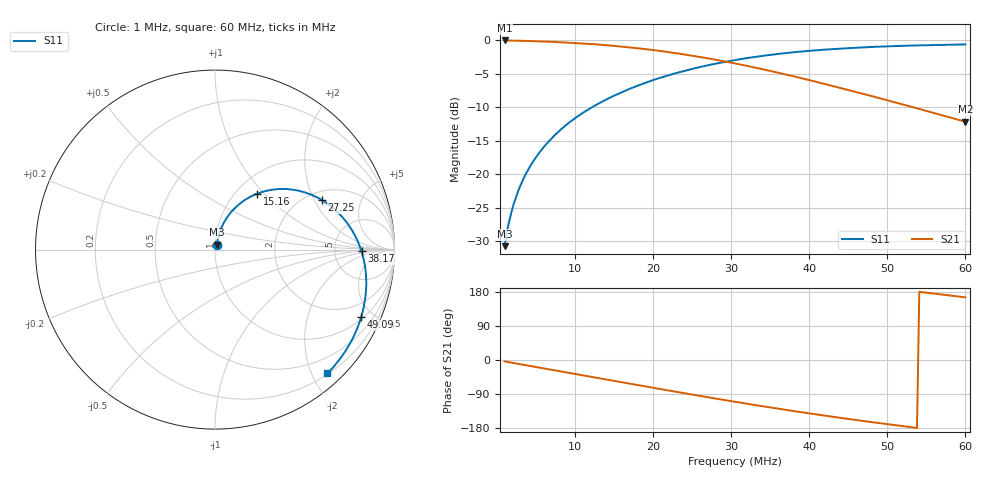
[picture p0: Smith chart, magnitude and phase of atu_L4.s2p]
! S11/S21 from S-A-A-2 VNA
! Written 2026-11-14 07:41:16 by the saav2 MCP server
! S12 and S22 were not measured (1.5-port VNA) and are written as 0
# HZ S RI R 50
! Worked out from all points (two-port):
!   201 points, 1 MHz to 60 MHz, reference 50 ohm
!   highest |S21| = -0.02 dB at 1 MHz (marker M1); lowest = -12.1 dB at 60 MHz (marker M2)
!   |S21| within 3 dB of the highest: start of sweep to 28.61 MHz
!   lowest |S11| = -30.7 dB at 1 MHz (marker M3), VSWR 1.06, Z = 51 + j2.77 ohm
!   |S11| at or under -10 dB: start of sweep to 12.17 MHz
!   S12 and S22 are empty: the file has one direction only
!   S11 on the Smith chart (normalised r, x): 1 MHz: 1.02, +0.06; 15.16 MHz: 1.24, +0.91; 27.25 MHz: 2.36, +2.30; 38.17 MHz: 9.88, -0.51; 49.09 MHz: 1.10, -4.27; 60 MHz: 0.21, -2.24
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1000000  0.0106 0.0272  0.9956 -0.0639  0 0  0 0
1295000  0.0116 0.0354  0.9934 -0.0838  0 0  0 0
2180000  0.0158 0.0585  0.9839 -0.1395  0 0  0 0
3065000  0.0212 0.081  0.9722 -0.1945  0 0  0 0
4245000  0.0307 0.1102  0.9513 -0.2662  0 0  0 0
5720000  0.0465 0.145  0.9163 -0.3525  0 0  0 0
7195000  0.0663 0.1783  0.8723 -0.4338  0 0  0 0
1.103e7  0.1353 0.254  0.7205 -0.6152  0 0  0 0
1.516e7  0.2347 0.3112  0.5125 -0.7486  0 0  0 0
1.811e7  0.3177 0.3333  0.3495 -0.7988  0 0  0 0
2.0765e7  0.3983 0.3373  0.202 -0.8099  0 0  0 0
2.401e7  0.4983 0.3194  0.0321 -0.7842  0 0  0 0
2.7255e7  0.5944 0.2769  -0.1156 -0.7209  0 0  0 0
3.05e7  0.6801 0.2112  -0.2332 -0.6307  0 0  0 0
3.4335e7  0.762 0.1104  -0.3291 -0.5063  0 0  0 0
3.817e7  0.8165 -0.00857  -0.3806 -0.3779  0 0  0 0
4.053e7  0.8349 -0.0876  -0.3939 -0.3027  0 0  0 0
4.4365e7  0.8421 -0.2188  -0.391 -0.193  0 0  0 0
4.9085e7  0.8143 -0.3773  -0.3594 -0.0839  0 0  0 0
5.0265e7  0.8016 -0.4151  -0.3483 -0.0612  0 0  0 0
5.528e7  0.7263 -0.5665  -0.294 0.0156  0 0  0 0
6e7  0.6266 -0.6898  -0.2392 0.0627  0 0  0 0
